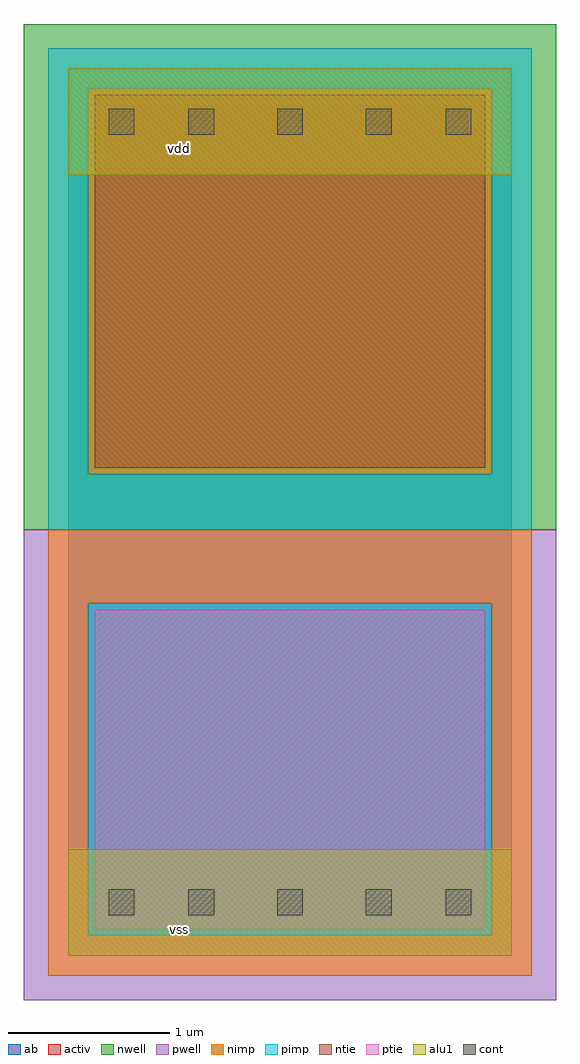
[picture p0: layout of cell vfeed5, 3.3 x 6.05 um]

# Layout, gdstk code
import gdstk
lib = gdstk.Library(unit=1e-6, precision=2.5e-09)
def R(c, l, rs):  # rectangles x0, y0, x1, y1
    for r in rs: c.add(gdstk.rectangle(r[:2], r[2:], *l))
def A(c, l, x, y, w, h, nx, ny, dx, dy):  # array of equal rectangles
    R(c, l, [(x+i*dx, y+j*dy, x+i*dx+w, y+j*dy+h) for i in range(nx) for j in range(ny)])
ntie = (5, 0)
ptie = (6, 0)
cont = (25, 0)
pwell = (41, 0)
nwell = (42, 0)
activ = (43, 0)
pimp = (44, 0)
nimp = (45, 0)
alu1 = (49, 0)
ab = (63, 0)

vfeed5 = lib.new_cell('vfeed5')
R(vfeed5, ntie, [(0.165,3.025,2.585,5.335)])
R(vfeed5, ptie, [(0.165,0.165,2.585,2.145)])
A(vfeed5, cont, 0.745, 0.25, 0.16, 0.16, 3, 2, 0.55, 4.84)
R(vfeed5, cont, [(0.25,0.25,0.41,0.41), (2.34,0.25,2.5,0.41), (0.25,5.09,0.41,5.25), (2.34,5.09,2.5,5.25)])
R(vfeed5, pwell, [(-0.275,-0.275,3.025,2.64)])
R(vfeed5, nwell, [(-0.275,2.64,3.025,5.775)])
R(vfeed5, activ, [(0.165,0.165,2.585,2.145), (0.165,3.025,2.585,5.335)])
R(vfeed5, pimp, [(0.125,0.125,2.625,2.185), (-0.125,2.64,2.875,2.985), (-0.125,2.985,0.125,5.375), (2.625,2.985,2.875,5.375), (-0.125,5.375,2.875,5.625)])
R(vfeed5, nimp, [(-0.125,-0.125,2.875,0.125), (-0.125,0.125,0.125,2.185), (2.625,0.125,2.875,2.185), (-0.125,2.185,2.875,2.64), (0.125,2.985,2.625,5.375)])
R(vfeed5, alu1, [(0,0,2.75,0.66), (0,4.84,2.75,5.5)])
R(vfeed5, ab, [(0,0,2.75,5.5)])
vfeed5.add(gdstk.Label('vss', (0.6875,0.165), layer=49, texttype=0))
vfeed5.add(gdstk.Label('vdd', (0.6875,5.005), layer=49, texttype=0))

lib.write_gds('vfeed5.gds')
